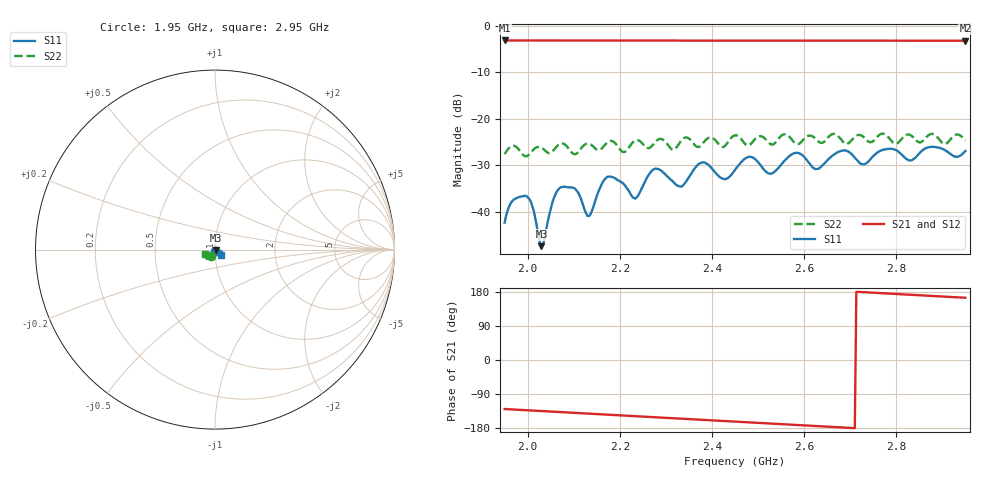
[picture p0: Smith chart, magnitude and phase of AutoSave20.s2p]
!Agilent N9923A: A.07.32
!Date: Wednesday, 01 June 2016 22:20:39
!Model: N9923A
!Serial: MY52412257
!GPS Latitude:
!GPS Longitude:
!GPS TimeStamp: 0001-01-01 00:00:00Z
!GPS Seconds Since Last Read: 0
!CHECKSUM:0094695330
!Correction: S11(ON U)S21(ON U)S12(ON U)S22(ON U)
!S2P File: Measurements:S11,S21,S12,S22:
# Hz S DB R 50
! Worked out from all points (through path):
!   301 points, 1.95 GHz to 2.95 GHz, reference 50 ohm
!   highest |S21| = -3.11 dB at 1.95 GHz (marker M1); lowest = -3.2 dB at 2.95 GHz (marker M2)
!   group delay of S21, straight-line fit = 184 ps
!   lowest |S11| = -47.4 dB at 2.03 GHz (marker M3), VSWR 1.01, Z = 50.4 - j0.181 ohm
!   |S11| at or under -10 dB: start of sweep to end of sweep
!   |S22| runs from -28.1 to -23.2 dB; largest |S21 - S12| = 0.003
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1.95e9  -42.35 -72.2  -3.11 -129.4  -3.10 -129.2  -27.58 -119.6
1.966667e9  -37.69 -54.7  -3.12 -130.5  -3.11 -130.3  -25.79 -116.6
1.996667e9  -36.62 -3.1  -3.11 -132.5  -3.10 -132.4  -28.07 -117.2
2.03e9  -47.41 -24.9  -3.11 -134.7  -3.11 -134.6  -26.23 -109.3
2.07e9  -34.85 -40.2  -3.12 -137.3  -3.12 -137.2  -25.39 -120.9
2.12e9  -38.46 -4.5  -3.12 -140.7  -3.11 -140.5  -25.89 -121.8
2.133333e9  -40.94 -32.4  -3.12 -141.6  -3.11 -141.4  -25.33 -113.7
2.176667e9  -32.41 -30.2  -3.13 -144.5  -3.12 -144.3  -24.82 -124.3
2.21e9  -34.18 -2.9  -3.12 -146.7  -3.11 -146.5  -27.14 -120.5
2.233333e9  -37.17 -30.0  -3.13 -148.2  -3.12 -148.1  -24.63 -121.7
2.286667e9  -30.95 -22.1  -3.14 -151.8  -3.13 -151.7  -24.31 -126.2
2.333333e9  -34.61 -30.1  -3.14 -154.9  -3.13 -154.7  -24.67 -130.1
2.376667e9  -29.43 -27.7  -3.15 -157.7  -3.14 -157.6  -25.68 -134.7
2.426667e9  -32.97 -23.5  -3.14 -161.0  -3.13 -161.0  -25.97 -130.3
2.453333e9  -30.54 -42.0  -3.15 -162.8  -3.15 -162.7  -23.55 -129.3
2.483333e9  -28.16 -24.5  -3.15 -164.8  -3.15 -164.8  -25.48 -138.3
2.53e9  -31.75 -29.6  -3.15 -167.9  -3.14 -167.8  -25.54 -131.7
2.586667e9  -27.31 -25.7  -3.16 -171.7  -3.16 -171.6  -25.45 -139.5
2.62e9  -30.56 -22.4  -3.15 -173.8  -3.15 -173.8  -23.86 -132.8
2.783333e9  -26.44 -31.8  -3.17 175.3  -3.17 175.4  -24.00 -142.5
2.83e9  -28.96 -33.0  -3.16 172.2  -3.16 172.4  -23.47 -147.6
2.95e9  -26.91 -42.9  -3.17 164.3  -3.17 164.5  -24.65 -155.2
